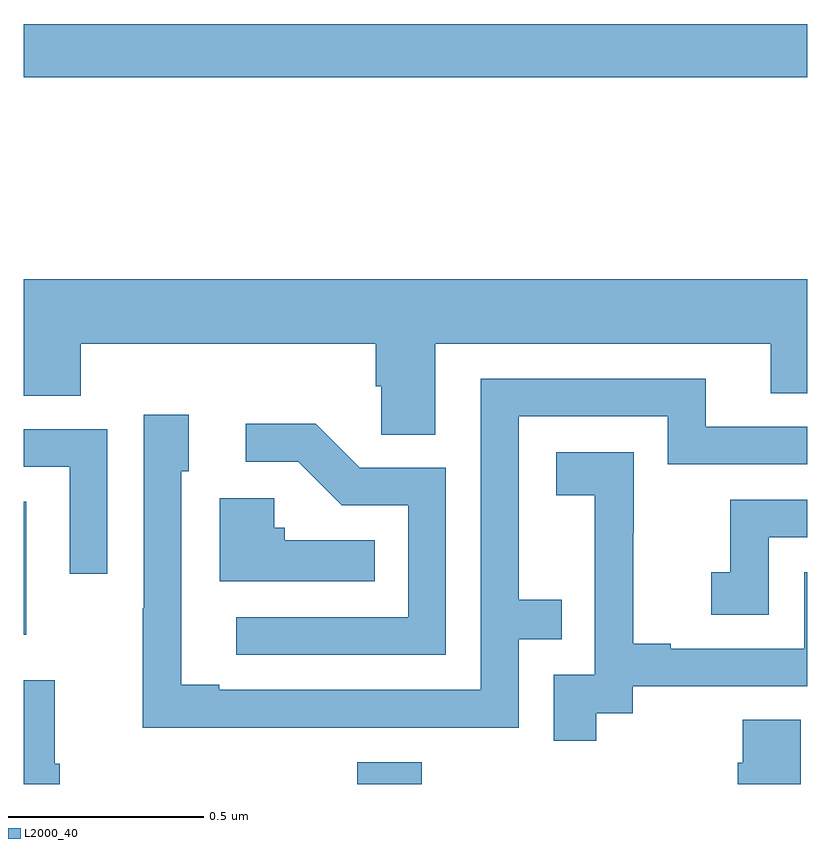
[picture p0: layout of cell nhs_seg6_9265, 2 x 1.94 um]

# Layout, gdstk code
import gdstk
lib = gdstk.Library(unit=1e-6, precision=1e-09)
def R(c, l, rs):  # rectangles x0, y0, x1, y1
    for r in rs: c.add(gdstk.rectangle(r[:2], r[2:], *l))
def P(c, l, *ps):  # polygons
    for p in ps: c.add(gdstk.Polygon(p, *l))
L2000_40 = (2000, 40)

nhs_seg6_9265 = lib.new_cell('nhs_seg6_9265')
R(nhs_seg6_9265, L2000_40, [(231.851,991.5,232.016,991.555), (231,991.881,231.007,992.221), (231,993.304,233,993.44)])
P(nhs_seg6_9265, L2000_40, [(232.051,992.624),(232.907,992.624),(232.907,992.497),(233,992.497),(233,992.788),(231,992.788),(231,992.491),(231.146,992.491),(231.146,992.624),(231.899,992.624),(231.899,992.515),(231.912,992.515),(231.912,992.392),(232.051,992.392)],
  [(231.767,991.644),(232.263,991.644),(232.263,991.869),(232.373,991.869),(232.373,991.97),(232.263,991.97),(232.263,992.439),(232.644,992.439),(232.644,992.316),(233,992.316),(233,992.412),(232.741,992.412),(232.741,992.535),(232.167,992.535),(232.167,991.74),(231.499,991.74),(231.499,991.753),(231.402,991.753),(231.402,992.298),(231.421,992.298),(231.421,992.443),(231.306,992.443),(231.306,991.949),(231.304,991.949),(231.304,991.643),(231.767,991.643)],
  [(232.077,992.307),(231.858,992.307),(231.745,992.42),(231.567,992.42),(231.567,992.322),(231.701,992.322),(231.812,992.211),(231.981,992.211),(231.981,991.926),(231.543,991.926),(231.543,991.83),(232.077,991.83)],
  [(231.213,992.406),(231,992.406),(231,992.31),(231.117,992.31),(231.117,992.037),(231.213,992.037)],
  [(232.462,991.681),(232.554,991.681),(232.554,991.749),(233,991.749),(233,992.04),(232.992,992.04),(232.992,991.845),(232.651,991.845),(232.651,991.858),(232.556,991.858),(232.556,992.141),(232.557,992.141),(232.557,992.347),(232.359,992.347),(232.359,992.237),(232.457,992.237),(232.457,992.009),(232.458,992.009),(232.458,991.779),(232.353,991.779),(232.353,991.611),(232.462,991.611)],
  [(231.896,992.122),(231.666,992.122),(231.666,992.154),(231.639,992.154),(231.639,992.23),(231.5,992.23),(231.5,992.018),(231.896,992.018)],
  [(232.902,992.13),(233,992.13),(233,992.226),(232.804,992.226),(232.804,992.041),(232.755,992.041),(232.755,991.932),(232.902,991.932)],
  [(231.092,991.552),(231.079,991.552),(231.079,991.765),(231,991.765),(231,991.5),(231.092,991.5)],
  [(232.983,991.664),(232.835,991.664),(232.835,991.554),(232.823,991.554),(232.823,991.5),(232.983,991.5)])

lib.write_gds('nhs_seg6_9265.gds')
